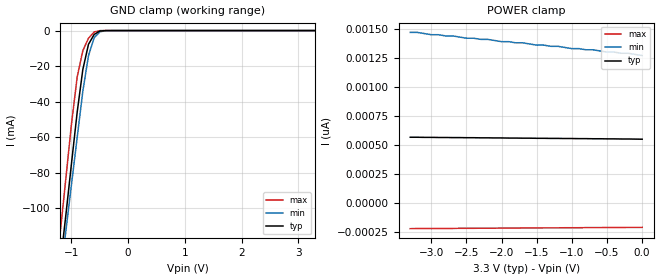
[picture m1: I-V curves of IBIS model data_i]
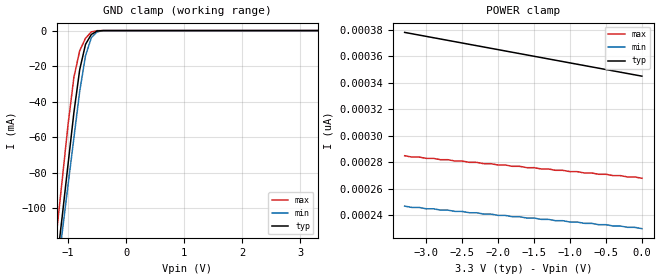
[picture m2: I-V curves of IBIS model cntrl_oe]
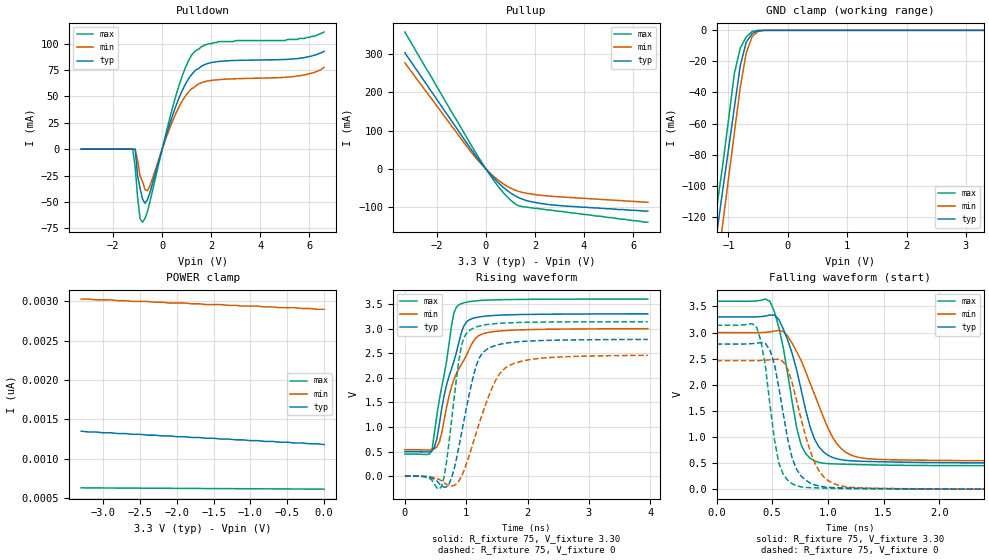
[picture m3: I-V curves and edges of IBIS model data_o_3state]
|   ON Semiconductor Corporation
|   IBIS Model of MC74LCX540DT
|   Low-Voltage CMOS Octal Buffer Flow Through Pinout
|   SO-20 (DW) Package Type
[IBIS Ver]   3.2
[Comment Char]   |_char
[File name]   mc74lcx540dt_c300.ibs
[File Rev]   1.0
[Date]   06/14/04
[Source]
From lab measurements at ON Semiconductor
[Notes]
Created by Duane Mattheisen
Modeling Support Engineer
| This model represents the MC74LCX540DT where 3.0<= Vcc =< 3.6
[Disclaimer]
ON Semiconductor Corporation hereby grants
the user of this IBIS model a license to use this IBIS
model under the following terms. This license in non-exclusive
and non-transferable. Before using this IBIS model. After reading
the terms and conditions of this license, the user either must accept
these terms, or the IBIS model should be returned to ON within 30 days.
     The user is hereby granted a license to use the
IBIS model. This shall not be construed as a right to sell, or otherwise
profit either by leasing or renting this software.
     The user may modify the IBIS model to suit his specific applications
but rights to derivative works and such modifications shall belong to
ON Semiconductor.
     This IBIS model is provided on an "as is" basis. ON Semiconductor
makes absolutely no warranty with respect to the information contained
herein. By use of this IBIS model, the user assumes full risk as to the
quality and suitablility of the model to his particular use, and by using
this model assumes the entire risk. Under all circumstances the user shall
not hold ON Semiconductor liable in any way for the results obtained. ON
Semiconductor reserves the right to make to improve the model for reliability,
function, or design. ON Semiconductor does not convey any license under patent
rights or any other intellectual property rights, including those of third
parties.
ON Semiconductor is not obligated to provide maintenance or support
for the licensed IBIS model.
Cont ON at ATTN:LOGIC APPLICATIONS/IBIS MODEL.
5005 E. McDowell Road, Phoenix AZ 85008
[Copyright]
(c) 2002 ON Semiconductor Corp.
[Component]   MC74LCX540DT
Si_location Pin
Timing_location Pin
[Manufacturer]   ON Semiconductor Corp.
[Package]
|   typ   min   max
R_pkg   0.162   0.156   0.171
L_pkg   2.13nH   1.68nH   2.58nH
C_pkg   0.25pF   0.22pF   0.27pF
[Pin] signal_name   model_name   R_pin   L_pin   C_pin
1   BarOE1   cntrl_oe   .171   2.58nH   .27pF
2   D0   data_i   .167   2.35nH   .26pF
3   D1   data_i   .164   2.12nH   .25pF
4   D2   data_i   .160   1.90nH   .23pF
5   D3   data_i   .156   1.68nH   .22pF
6   D4   data_i   .156   1.68nH   .22pF
7   D5   data_i   .160   1.90nH   .23pF
8   D6   data_i   .164   2.12nH   .25pF
9   D7   data_i   .167   2.35nH   .26pF
10   GND   GND   .171   2.58nH   .27pF
11   BarO7   data_o_3state   .171   2.58nH   .27pF
12   BarO6   data_o_3state   .167   2.35nH   .26pF
13   BarO5   data_o_3state   .164   2.12nH   .25pF
14   BarO4   data_o_3state   .160   1.90nH   .23pF
15   BarO3   data_o_3state   .156   1.68nH   .22pF
16   BarO2   data_o_3state   .156   1.68nH   .22pF
17   BarO1   data_o_3state   .160   1.90nH   .23pF
18   BarO0   data_o_3state   .164   2.12nH   .25pF
19   BarOE2   cntrl_oe   .167   2.35nH   .26pF
20   VCC   POWER   .171   2.58nH   .27pF
| Models and submodels in the file (3): data_i (Input), cntrl_oe (Input), data_o_3state (3-state)
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[Model]   data_i
Model_type Input
Vinh=2.0
Vinl=0.8
| variable   typ   min   max
C_comp   4.0pf   4.0pf   4.0pf
[Temperature Range] 25   85   -40
[Voltage Range]   3.3   3.0   3.6
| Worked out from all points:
|   GND clamp passes 1 mA (typ) near -0.54 V on its own axis
[GND Clamp]
|VIN   IIN   IIN   IIN
-3.3V     -737mA     -689mA     -763mA
-1.2V     -132mA     -139mA     -114mA
-1.1V     -104mA     -113mA     -83.4mA
-1V       -74.8mA    -86.5mA    -52.5mA
-900mV    -46mA      -60.3mA    -26.2mA
-800mV    -21.9mA    -34.1mA    -11.3mA
-700mV    -7.72mA    -14.1mA    -4.29mA
-600mV    -2.18mA    -4.02mA    -769uA
-500mV    -264uA     -735uA     -24.3uA
-400mV    -9.72uA    -53.6uA    -271nA
3.3V      2.02nA     2.24nA     595pA
[POWER Clamp]
| VIN   IIN   IIN   IIN
-3.3V     565pA      1.47nA     -224pA
-2.5V     561pA      1.42nA     -221pA
-2.2V     560pA      1.41nA     -220pA
-2V       559pA      1.39nA     -219pA
-1.7V     557pA      1.38nA     -218pA
-1.5V     556pA      1.36nA     -218pA
-1.2V     555pA      1.35nA     -217pA
-1V       554pA      1.33nA     -216pA
-700mV    552pA      1.32nA     -215pA
-500mV    551pA      1.3nA      -214pA
-200mV    550pA      1.29nA     -213pA
0V        548pA      1.27nA     -213pA
[Model]   cntrl_oe
Model_type Input
Vinh=2.0
Vinl=0.8
| variable   typ   min   max
C_comp   4.0pf   4.0pf   4.0pf
[Temperature Range] 25   85   -40
[Voltage Range]   3.3   3.0   3.6
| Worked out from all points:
|   GND clamp passes 1 mA (typ) near -0.54 V on its own axis
[GND Clamp]
|VIN   IIN   IIN   IIN
-3.3V     -737mA     -689mA     -763mA
-1.2V     -132mA     -139mA     -114mA
-1.1V     -104mA     -113mA     -83.4mA
-1V       -74.8mA    -86.5mA    -52.5mA
-900mV    -46mA      -60.3mA    -26.2mA
-800mV    -21.9mA    -34.1mA    -11.3mA
-700mV    -7.72mA    -14.1mA    -4.29mA
-600mV    -2.18mA    -4.02mA    -769uA
-500mV    -264uA     -735uA     -24.3uA
-400mV    -9.72uA    -53.6uA    -271nA
3.3V      202pA      468pA      4.33nA
[POWER Clamp]
|VIN   IIN   IIN   IIN
-3.3V     378pA      247pA      285pA
-3.2V     377pA      246pA      284pA
-3.1V     376pA      246pA      284pA
-3V       375pA      245pA      283pA
-2.9V     374pA      245pA      283pA
-2.8V     373pA      244pA      282pA
-2.7V     372pA      244pA      282pA
-2.6V     371pA      243pA      281pA
-1.7V     362pA      239pA      277pA
-1.6V     361pA      238pA      276pA
-500mV    350pA      233pA      271pA
0V        345pA      230pA      268pA
[Model]   data_o_3state
Model_type 3-state
Enable Active-Low
Polarity Inverting
Vref=0
Vmeas=1.5
Rref=500
Cref=50p
| variable   typ   min   max
C_comp   8.0pf   8.0pf   8.0pf
[Temperature Range] 25   85   -40
[Voltage Range]   3.3   3.0   3.6
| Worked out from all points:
|   slope of the pulldown table from 0 to 0.495 V, typ, clamps not added: 13.5 ohm
|   slope of the pullup table from 0 to 0.495 V, typ, clamps not added: 14 ohm
|   GND clamp passes 1 mA (typ) near -0.54 V on its own axis
|   falling waveform, R_fixture 75, V_fixture 3.30: 20-80 % time 206ps typ, 284ps min, 158ps max; typ from 3.3 V to 0.5 V
|   falling waveform, R_fixture 75, V_fixture 0: 20-80 % time 151ps typ, 198ps min, 123ps max; typ from 2.78 V to 0 V
|   rising waveform, R_fixture 75, V_fixture 3.30: 20-80 % time 322ps typ, 398ps min, 246ps max; typ from 0.5 V to 3.3 V
|   rising waveform, R_fixture 75, V_fixture 0: 20-80 % time 284ps typ, 421ps min, 188ps max; typ from 0 V to 2.78 V
[Pullup]
|VOUT   IOUT   IOUT   IOUT
-3.3V     303mA      277mA      357mA
-700mV    60mA       52mA       73mA
-300mV    24.6mA     20.8mA     30.4mA
100mV     -7.72mA    -6.44mA    -9.74mA
500mV     -35.6mA    -29.2mA    -45.5mA
800mV     -52.9mA    -42.8mA    -68.2mA
1.1V      -66.7mA    -53mA      -86.5mA
1.3V      -73.8mA    -57.9mA    -95.4mA
1.5V      -79.2mA    -61.5mA    -98.5mA
1.9V      -86.3mA    -66.1mA    -102mA
2.5V      -92.5mA    -70.4mA    -107mA
6.6V      -110mA     -87.2mA    -139mA
[Pulldown]
|VOUT   IOUT   IOUT   IOUT
-3.3V     18uA       16uA       15uA
-1.2V     18uA       16uA       15uA
-1.1V     18uA       16uA       -16.6mA
-1V       -25.2mA    -10.7mA    -45.5mA
-900mV    -37.1mA    -25.3mA    -65.7mA
-800mV    -47.1mA    -30.7mA    -69.1mA
-600mV    -47.8mA    -39.2mA    -59.1mA
600mV     43.4mA     36mA       53.9mA
1.3V      73.4mA     58.6mA     91.8mA
2.3V      83.1mA     65.9mA     102mA
5.3V      85.5mA     68.7mA     104mA
6.6V      92.8mA     77.6mA     111mA
[GND Clamp]
|VOUT   IOUT   IOUT   IOUT
-3.3V     -703mA     -778mA     -682mA
-1.3V     -159mA     -185mA     -142mA
-1.2V     -132mA     -155mA     -115mA
-1.1V     -104mA     -126mA     -88mA
-1V       -77.1mA    -95.9mA    -58.2mA
-900mV    -49.9mA    -66.2mA    -27.8mA
-800mV    -22.7mA    -36.5mA    -11.4mA
-700mV    -7.66mA    -14.6mA    -4.29mA
-600mV    -2.08mA    -3.95mA    -732uA
-500mV    -238uA     -705uA     -21.8uA
-400mV    -8.31uA    -50uA      -231nA
3.3V      3.11nA     2.75nA     1.69nA
[POWER Clamp]
|VOUT   IOUT   IOUT   IOUT
-3.3V     1.35nA     3.03nA     630pA
-2.9V     1.33nA     3.02nA     628pA
-2.6V     1.31nA     3nA        626pA
-2.4V     1.3nA      3nA        625pA
-2.1V     1.29nA     2.98nA     624pA
-1.9V     1.28nA     2.98nA     623pA
-1.6V     1.26nA     2.96nA     621pA
-1.4V     1.25nA     2.96nA     620pA
-1.1V     1.24nA     2.94nA     619pA
-900mV    1.23nA     2.94nA     618pA
-600mV    1.21nA     2.92nA     616pA
0V        1.18nA     2.9nA      613pA
[Ramp]
dV/dt_r   1.67E+00/2.8E-10   1.47E+00/4.4E-10   1.88E+00/2E-10
dV/dt_f   1.68E+00/2E-10   1.48E+00/2.8E-10   1.89E+00/1.60E-10
[Falling Waveform]
R_fixture=75
C_fixture=0p
V_fixture=3.30
V_fixture_min=3.00
V_fixture_max=3.60
|Time   Typ   Min   Max
|SECONDS   VOLTS   VOLTS   VOLTS
0s        3.3V       3V         3.6V
480ps     3.336V     3.014V     3.597V
520ps     3.336V     3.029V     3.396V
600ps     3.069V     3.02V      2.706V
720ps     2.282V     2.635V     1.173V
760ps     1.904V     2.464V     848.4mV
880ps     958.8mV    1.816V     541.6mV
1.08ns    581.1mV    871.6mV    482.7mV
1.28ns    536.4mV    607.4mV    470.6mV
3.96ns    500mV      540mV      450mV
[Falling Waveform]
R_fixture=75
C_fixture=0p
V_fixture=0
|Time   Typ   Min   Max
|SECONDS   VOLTS   VOLTS   VOLTS
0s        2.78V      2.462V     3.14V
360ps     2.796V     2.463V     3.101V
400ps     2.808V     2.466V     2.831V
480ps     2.663V     2.478V     1.618V
560ps     1.944V     2.489V     495.5mV
640ps     950.5mV    2.297V     168.8mV
720ps     375.7mV    1.689V     64.29mV
880ps     83.19mV    513.2mV    25.87mV
1.12ns    24.64mV    61.17mV    12.86mV
3.96ns    0V         0V         0V
[Rising Waveform]
R_fixture=75
C_fixture=0p
V_fixture=3.30
V_fixture_min=3.00
V_fixture_max=3.60
|Time   Typ   Min   Max
|SECONDS   VOLTS   VOLTS   VOLTS
0s        500mV      540mV      450mV
440ps     517.5mV    544.9mV    516.4mV
560ps     1.052V     691.4mV    1.551V
640ps     1.644V     1.143V     2.06V
760ps     2.186V     1.82V      3.068V
880ps     2.725V     2.185V     3.484V
1ns       3.129V     2.452V     3.536V
1.16ns    3.225V     2.811V     3.564V
1.36ns    3.258V     2.923V     3.579V
3.96ns    3.3V       3V         3.6V
[Rising Waveform]
R_fixture=75
C_fixture=0p
V_fixture=0
|Time   Typ   Min   Max
|SECONDS   VOLTS   VOLTS   VOLTS
0s        0V         0V         0V
600ps     -198.7mV   -93.61mV   -196mV
680ps     -214.9mV   -168.1mV   304.3mV
760ps     -36.43mV   -196.7mV   1.132V
920ps     859.1mV    -4.881mV   2.647V
1.08ns    1.848V     548.4mV    2.985V
1.28ns    2.521V     1.333V     3.071V
1.52ns    2.672V     2.037V     3.105V
1.72ns    2.717V     2.262V     3.118V
3.96ns    2.78V      2.456V     3.14V
